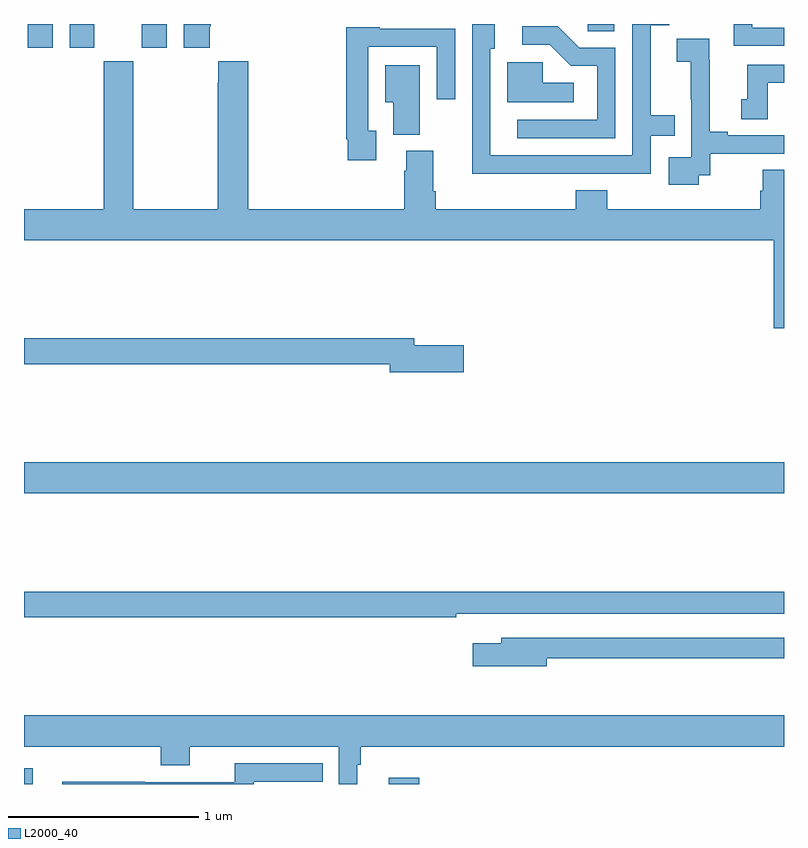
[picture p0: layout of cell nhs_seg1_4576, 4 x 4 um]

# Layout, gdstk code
import gdstk
lib = gdstk.Library(unit=1e-6, precision=1e-09)
def R(c, l, rs):  # rectangles x0, y0, x1, y1
    for r in rs: c.add(gdstk.rectangle(r[:2], r[2:], *l))
def P(c, l, *ps):  # polygons
    for p in ps: c.add(gdstk.Polygon(p, *l))
L2000_40 = (2000, 40)

nhs_seg1_4576 = lib.new_cell('nhs_seg1_4576')
R(nhs_seg1_4576, L2000_40, [(359,554.199,359.045,554.281), (360.92,554.199,361.079,554.233), (359,555.728,363,555.892), (359.021,558.075,359.152,558.199), (359.24,558.075,359.371,558.199), (359.621,558.075,359.752,558.199), (361.968,558.16,362.107,558.199)])
P(nhs_seg1_4576, L2000_40, [(361.82,557.412),(362.298,557.412),(362.298,557.61),(362.426,557.61),(362.426,557.719),(362.299,557.719),(362.299,558.192),(362.395,558.192),(362.395,558.199),(362.202,558.199),(362.202,557.508),(361.455,557.508),(361.455,558.069),(361.477,558.069),(361.477,558.199),(361.359,558.199),(361.359,557.714),(361.358,557.714),(361.358,557.411),(361.82,557.411)],
  [(359.977,558.187),(359.984,558.187),(359.984,558.199),(359.84,558.199),(359.84,558.075),(359.977,558.075)],
  [(363,558.18),(362.832,558.18),(362.832,558.199),(362.736,558.199),(362.736,558.084),(363,558.084)],
  [(362.112,558.075),(361.923,558.075),(361.81,558.188),(361.623,558.188),(361.623,558.09),(361.767,558.09),(361.878,557.979),(362.016,557.979),(362.016,557.694),(361.596,557.694),(361.596,557.598),(362.112,557.598)],
  [(360.853,557.637),(360.813,557.637),(360.813,558.078),(361.173,558.078),(361.173,557.802),(361.269,557.802),(361.269,558.174),(360.873,558.174),(360.873,558.181),(360.697,558.181),(360.697,557.593),(360.705,557.593),(360.705,557.481),(360.853,557.481)],
  [(362.55,557.403),(362.612,557.403),(362.612,557.517),(363,557.517),(363,557.613),(362.704,557.613),(362.704,557.633),(362.608,557.633),(362.608,558.011),(362.606,558.011),(362.606,558.122),(362.436,558.122),(362.436,558.001),(362.51,558.001),(362.51,557.803),(362.511,557.803),(362.511,557.499),(362.394,557.499),(362.394,557.352),(362.55,557.352)],
  [(363,557.432),(362.888,557.432),(362.888,557.322),(362.876,557.322),(362.876,557.224),(362.069,557.224),(362.069,557.323),(361.904,557.323),(361.904,557.224),(361.166,557.224),(361.166,557.32),(361.153,557.32),(361.153,557.532),(361.013,557.532),(361.013,557.426),(361.001,557.426),(361.001,557.224),(360.179,557.224),(360.179,558.004),(360.023,558.004),(360.023,557.891),(360.019,557.891),(360.019,557.224),(359.574,557.224),(359.574,558.004),(359.419,558.004),(359.419,557.224),(359,557.224),(359,557.06),(362.945,557.06),(362.945,556.599),(363,556.599)],
  [(361.894,557.89),(361.731,557.89),(361.731,557.997),(361.544,557.997),(361.544,557.786),(361.894,557.786)],
  [(362.914,557.889),(363,557.889),(363,557.985),(362.807,557.985),(362.807,557.802),(362.774,557.802),(362.774,557.698),(362.914,557.698)],
  [(361.084,557.983),(360.902,557.983),(360.902,557.786),(360.944,557.786),(360.944,557.617),(361.084,557.617)],
  [(361.315,556.508),(361.054,556.508),(361.054,556.544),(359,556.544),(359,556.408),(360.926,556.408),(360.926,556.366),(361.315,556.366)],
  [(361.274,555.096),(363,555.096),(363,555.212),(359,555.212),(359,555.076),(361.274,555.076)],
  [(361.75,554.862),(363,554.862),(363,554.97),(361.511,554.97),(361.511,554.941),(361.362,554.941),(361.362,554.819),(361.75,554.819)],
  [(360.754,554.3),(360.773,554.3),(360.773,554.396),(363,554.396),(363,554.56),(359,554.56),(359,554.396),(359.72,554.396),(359.72,554.297),(359.872,554.297),(359.872,554.396),(360.657,554.396),(360.657,554.199),(360.754,554.199)],
  [(360.208,554.211),(360.572,554.211),(360.572,554.307),(360.109,554.307),(360.109,554.208),(359.636,554.208),(359.636,554.21),(359.202,554.21),(359.202,554.199),(360.208,554.199)])

lib.write_gds('nhs_seg1_4576.gds')
